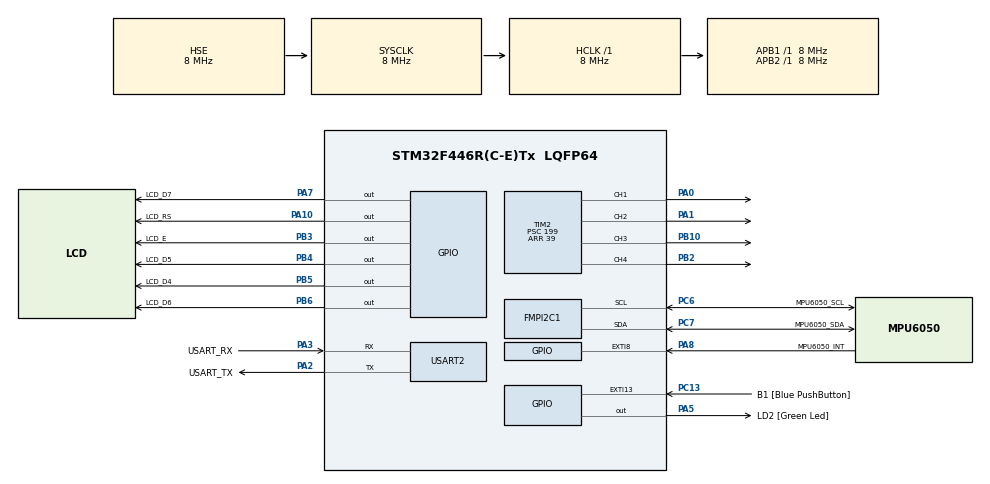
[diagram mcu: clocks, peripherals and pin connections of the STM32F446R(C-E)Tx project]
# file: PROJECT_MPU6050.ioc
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FMPI2C1.FMPI2C_Speed_Mode=FMPI2C_Fast
FMPI2C1.Timing=0x0000020B
FREERTOS.Tasks01=defaultTask,24,128,StartDefaultTask,Default,NULL,Dynamic,NULL,NULL;SensorReadTask,24,128,sensor_read_task,Default,NULL,Dynamic,NULL,NULL;PWMControlTask,40,128,pwm_control_task,Default,NULL,Dynamic,NULL,NULL;LCDControlTask,39,128,lcd_control_task,Default,NULL,Dynamic,NULL,NULL
FREERTOS.configUSE_NEWLIB_REENTRANT=1
Mcu.Family=STM32F4
Mcu.Name=STM32F446R(C-E)Tx
Mcu.Package=LQFP64
NVIC.EXTI15_10_IRQn=true\:5\:0\:false\:false\:true\:true\:true\:true\:true
NVIC.EXTI9_5_IRQn=true\:5\:0\:true\:false\:true\:false\:true\:true\:true
NVIC.PriorityGroup=NVIC_PRIORITYGROUP_4
NVIC.TIM2_IRQn=true\:5\:0\:false\:false\:true\:true\:true\:true\:true
NVIC.TIM6_DAC_IRQn=true\:15\:0\:false\:false\:true\:false\:false\:true\:true
NVIC.TimeBase=TIM6_DAC_IRQn
NVIC.TimeBaseIP=TIM6
PA0-WKUP.Signal=S_TIM2_CH1_ETR
PA1.Signal=S_TIM2_CH2
PA10.GPIO_Label=LCD_RS
PA10.Signal=GPIO_Output
PA13.GPIO_Label=TMS
PA13.Mode=Serial_Wire
PA13.Signal=SYS_JTMS-SWDIO
PA14.GPIO_Label=TCK
PA14.Mode=Serial_Wire
PA14.Signal=SYS_JTCK-SWCLK
PA2.GPIO_Label=USART_TX
PA2.Mode=Asynchronous
PA2.Signal=USART2_TX
PA3.GPIO_Label=USART_RX
PA3.Mode=Asynchronous
PA3.Signal=USART2_RX
PA5.GPIO_Label=LD2 [Green Led]
PA5.Signal=GPIO_Output
PA7.GPIO_Label=LCD_D7
PA7.Signal=GPIO_Output
PA8.GPIO_Label=MPU6050_INT
PA8.Signal=GPXTI8
PB10.Signal=S_TIM2_CH3
PB2.Signal=S_TIM2_CH4
PB3.GPIO_Label=LCD_E
PB3.Signal=GPIO_Output
PB4.GPIO_Label=LCD_D5
PB4.Signal=GPIO_Output
PB5.GPIO_Label=LCD_D4
PB5.Signal=GPIO_Output
PB6.GPIO_Label=LCD_D6
PB6.Signal=GPIO_Output
PC13.GPIO_Label=B1 [Blue PushButton]
PC13.GPIO_ModeDefaultEXTI=GPIO_MODE_IT_FALLING
PC13.Signal=GPXTI13
PC14-OSC32_IN.Mode=LSE-External-Oscillator
PC14-OSC32_IN.Signal=RCC_OSC32_IN
PC15-OSC32_OUT.Mode=LSE-External-Oscillator
PC15-OSC32_OUT.Signal=RCC_OSC32_OUT
PC6.GPIO_Label=MPU6050_SCL
PC6.GPIO_PuPdOD=GPIO_NOPULL
PC6.Mode=I2C
PC6.Signal=FMPI2C1_SCL
PC7.GPIO_Label=MPU6050_SDA
PC7.GPIO_PuPdOD=GPIO_NOPULL
PC7.Mode=I2C
PC7.Signal=FMPI2C1_SDA
PH0-OSC_IN.Mode=HSE-External-Oscillator
PH0-OSC_IN.Signal=RCC_OSC_IN
PH1-OSC_OUT.Mode=HSE-External-Oscillator
PH1-OSC_OUT.Signal=RCC_OSC_OUT
ProjectManager.HeapSize=0x200
ProjectManager.StackSize=0x400
ProjectManager.TargetToolchain=CMake
RCC.48MHZClocksFreq_Value=84000000
RCC.AHBFreq_Value=8000000
RCC.APB1Freq_Value=8000000
RCC.APB1TimFreq_Value=8000000
RCC.APB2Freq_Value=8000000
RCC.APB2TimFreq_Value=8000000
RCC.CortexFreq_Value=8000000
RCC.FLatency-AdvancedSettings=FLASH_LATENCY_0
RCC.HCLKFreq_Value=8000000
RCC.HSE_VALUE=8000000
RCC.HSI_VALUE=16000000
RCC.PLLN=336
RCC.PLLP=RCC_PLLP_DIV4
RCC.SYSCLKFreq_VALUE=8000000
RCC.SYSCLKSource=RCC_SYSCLKSOURCE_HSE
RCC.USBFreq_Value=168000000
RCC.VCOOutputFreq_Value=336000000
SH.S_TIM2_CH1_ETR.0=TIM2_CH1,PWM Generation1 CH1
SH.S_TIM2_CH2.0=TIM2_CH2,PWM Generation2 CH2
SH.S_TIM2_CH3.0=TIM2_CH3,PWM Generation3 CH3
SH.S_TIM2_CH4.0=TIM2_CH4,PWM Generation4 CH4
TIM2.Channel-PWM\ Generation1\ CH1=TIM_CHANNEL_1
TIM2.Channel-PWM\ Generation2\ CH2=TIM_CHANNEL_2
TIM2.Channel-PWM\ Generation3\ CH3=TIM_CHANNEL_3
TIM2.Channel-PWM\ Generation4\ CH4=TIM_CHANNEL_4
TIM2.Period=39
TIM2.Prescaler=199
TIM2.Pulse-PWM\ Generation1\ CH1=16
TIM2.Pulse-PWM\ Generation2\ CH2=8
TIM2.TIM_MasterOutputTrigger=TIM_TRGO_UPDATE
USART2.VirtualMode=VM_ASYNC
VP_FREERTOS_VS_CMSIS_V2.Mode=CMSIS_V2
VP_SYS_VS_tim6.Mode=TIM6
VP_TIM2_VS_ClockSourceINT.Mode=Internal
board=NUCLEO-F446RE

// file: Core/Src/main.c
/* USER CODE BEGIN Header */
/**
  ******************************************************************************
  * @file           : main.c
  * @brief          : Main program body
  ******************************************************************************
  * @attention
  *
  * Copyright (c) 2025 STMicroelectronics.
  * All rights reserved.
  *
  * This software is licensed under terms that can be found in the LICENSE file
  * in the root directory of this software component.
  * If no LICENSE file comes with this software, it is provided AS-IS.
  *
  ******************************************************************************
  */
/* USER CODE END Header */
#include "main.h"
#include "cmsis_os.h"

FMPI2C_HandleTypeDef hfmpi2c1;

TIM_HandleTypeDef htim2;

UART_HandleTypeDef huart2;

/* Definitions for defaultTask */
osThreadId_t defaultTaskHandle;
const osThreadAttr_t defaultTask_attributes = {
  .name = "defaultTask",
  .stack_size = 128 * 4,
  .priority = (osPriority_t) osPriorityNormal,
};
/* Definitions for SensorReadTask */
osThreadId_t SensorReadTaskHandle;
const osThreadAttr_t SensorReadTask_attributes = {
  .name = "SensorReadTask",
  .stack_size = 128 * 4,
  .priority = (osPriority_t) osPriorityNormal,
};
/* Definitions for PWMControlTask */
osThreadId_t PWMControlTaskHandle;
const osThreadAttr_t PWMControlTask_attributes = {
  .name = "PWMControlTask",
  .stack_size = 128 * 4,
  .priority = (osPriority_t) osPriorityHigh,
};
/* Definitions for LCDControlTask */
osThreadId_t LCDControlTaskHandle;
const osThreadAttr_t LCDControlTask_attributes = {
  .name = "LCDControlTask",
  .stack_size = 128 * 4,
  .priority = (osPriority_t) osPriorityAboveNormal7,
};

void SystemClock_Config(void);
static void MX_GPIO_Init(void);
static void MX_USART2_UART_Init(void);
static void MX_FMPI2C1_Init(void);
static void MX_TIM2_Init(void);
void StartDefaultTask(void *argument);
void sensor_read_task(void *argument);
void pwm_control_task(void *argument);
void lcd_control_task(void *argument);

/* USER CODE BEGIN 0 */

uint32_t g_counter = 0;
volatile uint32_t g_channel_1_state = 16;
volatile uint32_t g_channel_2_state = 8;

const mpu6050_accel_data_t error_offset = {
  .x = 490,
  .y = -40,
  .z = 16788 - 16384
};

#define PWM_PULSE_MIN 0
#define PWM_PULSE_MAX 40

#define ANGLE_POS_MIN 0
#define ANGLE_POS_MAX 90

#define GRID_SIZE 10
char grid[GRID_SIZE][GRID_SIZE];
char uart_buffer[128];

// Normalize accelerometer value to grid index
int map_to_grid_index(int16_t accel, int16_t min_val, int16_t max_val) {
    if (accel < min_val) accel = min_val;
    if (accel > max_val) accel = max_val;
    return ((accel - min_val) * (GRID_SIZE - 1)) / (max_val - min_val);
}

void draw_grid(int16_t x, int16_t y) {
    // Clear screen and move cursor to home
    HAL_UART_Transmit(&huart2, (uint8_t*)"\033[2J\033[H", strlen("\033[2J\033[H"), 100);

    // Clear grid
    for (int i = 0; i < GRID_SIZE; i++)
        for (int j = 0; j < GRID_SIZE; j++)
            grid[i][j] = '.';

    // Map to grid coordinates
    int gx = map_to_grid_index(x, -16000, 16000);
    int gy = map_to_grid_index(y, -16000, 16000);

    grid[gy][gx] = 'X';  // Place marker

    // Print grid to UART
    for (int i = 0; i < GRID_SIZE; i++) {
        int idx = 0;
        for (int j = 0; j < GRID_SIZE; j++)
            uart_buffer[idx++] = grid[i][j];
        uart_buffer[idx++] = '\r';
        uart_buffer[idx++] = '\n';
        HAL_UART_Transmit(&huart2, (uint8_t *)uart_buffer, idx, 100);
    }

    HAL_UART_Transmit(&huart2, (uint8_t *)"\r\n", 2, 100); // newline
}

//map function: re-maps a number from one range to another

long map(long x, long in_min, long in_max, long out_min, long out_max){
  // perform mapping

  long result = (x - in_min) * (out_max - out_min) / (in_max - in_min) + out_min;

  //clam the result to the output range

  if (result > out_max){
    result = out_max;
  }else if (result < out_min){
    result = out_min;
  }
  return result;
}

void change_pwm_duty_cycle(uint32_t pwm_pulse, uint8_t timer_channel){
  __HAL_TIM_SET_COMPARE(&htim2, timer_channel, pwm_pulse);
}

/* USER CODE END 0 */

int main(void)
{

  /* MCU Configuration--------------------------------------------------------*/

  /* Reset of all peripherals, Initializes the Flash interface and the Systick. */
  HAL_Init();

  /* Configure the system clock */
  SystemClock_Config();

  /* Initialize all configured peripherals */
  MX_GPIO_Init();
  MX_USART2_UART_Init();
  MX_FMPI2C1_Init();
  MX_TIM2_Init();
  /* USER CODE BEGIN 2 */

  if (mpu6050_init(&hfmpi2c1, MPU6050_I2C_ADDR) != MPU6050_OK){
    Error_Handler();
  }

  mpu6050_disable_interrupt(&hfmpi2c1, ALL_INT);
  mpu6050_interrupt_config(&hfmpi2c1, INT_LEVEL_ACTIVE_HIGH);
  mpu6050_enable_interrupt(&hfmpi2c1, RAW_RDY_INT);

#if 1
  if (mpu6050_configure_low_pass_filter(&hfmpi2c1, DLPF_CFG_21HZ) != MPU6050_OK){
    Error_Handler();
  }
#endif

  __HAL_TIM_ENABLE_IT(&htim2, TIM_IT_UPDATE);

  if (HAL_TIM_PWM_Start_IT(&htim2, TIM_CHANNEL_1) != HAL_OK){
    Error_Handler();
  }

  if (HAL_TIM_PWM_Start_IT(&htim2, TIM_CHANNEL_2) != HAL_OK){
    Error_Handler();
  }

  if (HAL_TIM_PWM_Start_IT(&htim2, TIM_CHANNEL_3) != HAL_OK){
    Error_Handler();
  }

  if (HAL_TIM_PWM_Start_IT(&htim2, TIM_CHANNEL_4) != HAL_OK){
    Error_Handler();
  }

  /* USER CODE END 2 */

  /* Init scheduler */
  osKernelInitialize();

  /* Create the thread(s) */
  /* creation of defaultTask */
  defaultTaskHandle = osThreadNew(StartDefaultTask, NULL, &defaultTask_attributes);

  /* creation of SensorReadTask */
  SensorReadTaskHandle = osThreadNew(sensor_read_task, NULL, &SensorReadTask_attributes);

  /* creation of PWMControlTask */
  PWMControlTaskHandle = osThreadNew(pwm_control_task, NULL, &PWMControlTask_attributes);

  /* creation of LCDControlTask */
  LCDControlTaskHandle = osThreadNew(lcd_control_task, NULL, &LCDControlTask_attributes);

  /* Start scheduler */
  osKernelStart();

  /* We should never get here as control is now taken by the scheduler */

  /* Infinite loop */
  while (1)
  {

    /* USER CODE BEGIN 3 */

#ifdef PWM_DEBUG
    g_counter = __HAL_TIM_GET_COUNTER(&htim2);
#endif

    //HAL_Delay(100);
  }
  /* USER CODE END 3 */
}

void SystemClock_Config(void)
{
  RCC_OscInitTypeDef RCC_OscInitStruct = {0};
  RCC_ClkInitTypeDef RCC_ClkInitStruct = {0};

  /** Configure the main internal regulator output voltage
  */
  __HAL_RCC_PWR_CLK_ENABLE();
  __HAL_PWR_VOLTAGESCALING_CONFIG(PWR_REGULATOR_VOLTAGE_SCALE3);

  /** Initializes the RCC Oscillators according to the specified parameters
  * in the RCC_OscInitTypeDef structure.
  */
  RCC_OscInitStruct.OscillatorType = RCC_OSCILLATORTYPE_HSE;
  RCC_OscInitStruct.HSEState = RCC_HSE_ON;
  RCC_OscInitStruct.PLL.PLLState = RCC_PLL_NONE;
  if (HAL_RCC_OscConfig(&RCC_OscInitStruct) != HAL_OK)
  {
    Error_Handler();
  }

  /** Initializes the CPU, AHB and APB buses clocks
  */
  RCC_ClkInitStruct.ClockType = RCC_CLOCKTYPE_HCLK|RCC_CLOCKTYPE_SYSCLK
                              |RCC_CLOCKTYPE_PCLK1|RCC_CLOCKTYPE_PCLK2;
  RCC_ClkInitStruct.SYSCLKSource = RCC_SYSCLKSOURCE_HSE;
  RCC_ClkInitStruct.AHBCLKDivider = RCC_SYSCLK_DIV1;
  RCC_ClkInitStruct.APB1CLKDivider = RCC_HCLK_DIV1;
  RCC_ClkInitStruct.APB2CLKDivider = RCC_HCLK_DIV1;

  if (HAL_RCC_ClockConfig(&RCC_ClkInitStruct, FLASH_LATENCY_0) != HAL_OK)
  {
    Error_Handler();
  }
}

static void MX_FMPI2C1_Init(void)
{

  hfmpi2c1.Instance = FMPI2C1;
  hfmpi2c1.Init.Timing = 0x0000020B;
  hfmpi2c1.Init.OwnAddress1 = 0;
  hfmpi2c1.Init.AddressingMode = FMPI2C_ADDRESSINGMODE_7BIT;
  hfmpi2c1.Init.DualAddressMode = FMPI2C_DUALADDRESS_DISABLE;
  hfmpi2c1.Init.OwnAddress2 = 0;
  hfmpi2c1.Init.OwnAddress2Masks = FMPI2C_OA2_NOMASK;
  hfmpi2c1.Init.GeneralCallMode = FMPI2C_GENERALCALL_DISABLE;
  hfmpi2c1.Init.NoStretchMode = FMPI2C_NOSTRETCH_DISABLE;
  if (HAL_FMPI2C_Init(&hfmpi2c1) != HAL_OK)
  {
    Error_Handler();
  }

  /** Configure Analogue filter
  */
  if (HAL_FMPI2CEx_ConfigAnalogFilter(&hfmpi2c1, FMPI2C_ANALOGFILTER_ENABLE) != HAL_OK)
  {
    Error_Handler();
  }

}

static void MX_TIM2_Init(void)
{

  TIM_ClockConfigTypeDef sClockSourceConfig = {0};
  TIM_MasterConfigTypeDef sMasterConfig = {0};
  TIM_OC_InitTypeDef sConfigOC = {0};

  htim2.Instance = TIM2;
  htim2.Init.Prescaler = 199;
  htim2.Init.CounterMode = TIM_COUNTERMODE_UP;
  htim2.Init.Period = 39;
  htim2.Init.ClockDivision = TIM_CLOCKDIVISION_DIV1;
  htim2.Init.AutoReloadPreload = TIM_AUTORELOAD_PRELOAD_DISABLE;
  if (HAL_TIM_Base_Init(&htim2) != HAL_OK)
  {
    Error_Handler();
  }
  sClockSourceConfig.ClockSource = TIM_CLOCKSOURCE_INTERNAL;
  if (HAL_TIM_ConfigClockSource(&htim2, &sClockSourceConfig) != HAL_OK)
  {
    Error_Handler();
  }
  if (HAL_TIM_PWM_Init(&htim2) != HAL_OK)
  {
    Error_Handler();
  }
  sMasterConfig.MasterOutputTrigger = TIM_TRGO_UPDATE;
  sMasterConfig.MasterSlaveMode = TIM_MASTERSLAVEMODE_DISABLE;
  if (HAL_TIMEx_MasterConfigSynchronization(&htim2, &sMasterConfig) != HAL_OK)
  {
    Error_Handler();
  }
  sConfigOC.OCMode = TIM_OCMODE_PWM1;
  sConfigOC.Pulse = 16;
  sConfigOC.OCPolarity = TIM_OCPOLARITY_HIGH;
  sConfigOC.OCFastMode = TIM_OCFAST_DISABLE;
  if (HAL_TIM_PWM_ConfigChannel(&htim2, &sConfigOC, TIM_CHANNEL_1) != HAL_OK)
  {
    Error_Handler();
  }
  sConfigOC.Pulse = 8;
  if (HAL_TIM_PWM_ConfigChannel(&htim2, &sConfigOC, TIM_CHANNEL_2) != HAL_OK)
  {
    Error_Handler();
  }
  sConfigOC.Pulse = 0;
  if (HAL_TIM_PWM_ConfigChannel(&htim2, &sConfigOC, TIM_CHANNEL_3) != HAL_OK)
  {
    Error_Handler();
  }
  if (HAL_TIM_PWM_ConfigChannel(&htim2, &sConfigOC, TIM_CHANNEL_4) != HAL_OK)
  {
    Error_Handler();
  }
  HAL_TIM_MspPostInit(&htim2);

}

static void MX_USART2_UART_Init(void)
{

  huart2.Instance = USART2;
  huart2.Init.BaudRate = 115200;
  huart2.Init.WordLength = UART_WORDLENGTH_8B;
  huart2.Init.StopBits = UART_STOPBITS_1;
  huart2.Init.Parity = UART_PARITY_NONE;
  huart2.Init.Mode = UART_MODE_TX_RX;
  huart2.Init.HwFlowCtl = UART_HWCONTROL_NONE;
  huart2.Init.OverSampling = UART_OVERSAMPLING_16;
  if (HAL_UART_Init(&huart2) != HAL_OK)
  {
    Error_Handler();
  }

}

static void MX_GPIO_Init(void)
{
  GPIO_InitTypeDef GPIO_InitStruct = {0};

  /* GPIO Ports Clock Enable */
  __HAL_RCC_GPIOC_CLK_ENABLE();
  __HAL_RCC_GPIOH_CLK_ENABLE();
  __HAL_RCC_GPIOA_CLK_ENABLE();
  __HAL_RCC_GPIOB_CLK_ENABLE();

  /*Configure GPIO pin Output Level */
  HAL_GPIO_WritePin(GPIOA, LD2_Pin|LCD_D7_Pin|LCD_RS_Pin, GPIO_PIN_RESET);

  /*Configure GPIO pin Output Level */
  HAL_GPIO_WritePin(GPIOB, LCD_E_Pin|LCD_D5_Pin|LCD_D4_Pin|LCD_D6_Pin, GPIO_PIN_RESET);

  /*Configure GPIO pin : B1_Pin */
  GPIO_InitStruct.Pin = B1_Pin;
  GPIO_InitStruct.Mode = GPIO_MODE_IT_FALLING;
  GPIO_InitStruct.Pull = GPIO_NOPULL;
  HAL_GPIO_Init(B1_GPIO_Port, &GPIO_InitStruct);

  /*Configure GPIO pins : LD2_Pin LCD_D7_Pin LCD_RS_Pin */
  GPIO_InitStruct.Pin = LD2_Pin|LCD_D7_Pin|LCD_RS_Pin;
  GPIO_InitStruct.Mode = GPIO_MODE_OUTPUT_PP;
  GPIO_InitStruct.Pull = GPIO_NOPULL;
  GPIO_InitStruct.Speed = GPIO_SPEED_FREQ_LOW;
  HAL_GPIO_Init(GPIOA, &GPIO_InitStruct);

  /*Configure GPIO pin : MPU6050_INT_Pin */
  GPIO_InitStruct.Pin = MPU6050_INT_Pin;
  GPIO_InitStruct.Mode = GPIO_MODE_IT_RISING;
  GPIO_InitStruct.Pull = GPIO_NOPULL;
  HAL_GPIO_Init(MPU6050_INT_GPIO_Port, &GPIO_InitStruct);

  /*Configure GPIO pins : LCD_E_Pin LCD_D5_Pin LCD_D4_Pin LCD_D6_Pin */
  GPIO_InitStruct.Pin = LCD_E_Pin|LCD_D5_Pin|LCD_D4_Pin|LCD_D6_Pin;
  GPIO_InitStruct.Mode = GPIO_MODE_OUTPUT_PP;
  GPIO_InitStruct.Pull = GPIO_NOPULL;
  GPIO_InitStruct.Speed = GPIO_SPEED_FREQ_LOW;
  HAL_GPIO_Init(GPIOB, &GPIO_InitStruct);

  /* EXTI interrupt init*/
  HAL_NVIC_SetPriority(EXTI9_5_IRQn, 5, 0);
  HAL_NVIC_EnableIRQ(EXTI9_5_IRQn);

  HAL_NVIC_SetPriority(EXTI15_10_IRQn, 5, 0);
  HAL_NVIC_EnableIRQ(EXTI15_10_IRQn);

}

void StartDefaultTask(void *argument)
{
  for(;;)
  {
    osDelay(1);
  }
}

void sensor_read_task(void *argument)
{
  /* USER CODE BEGIN sensor_read_task */

  mpu6050_accel_data_t g_accel_data;

  uint32_t previous_tick = osKernelGetTickCount();
  int16_t roll_angle;
  int16_t pitch_angle;
  int16_t roll_angle_filtered;
  int16_t pitch_angle_filtered;
  uint32_t roll_pitch_angles;

  float dt = 0;

  KalmanFilter kf_roll;
  kalman_filter_init(&kf_roll);

  KalmanFilter kf_pitch;
  kalman_filter_init(&kf_pitch);

  /* Infinite loop */
  for(;;)
  {
    //sensor read
    if (mpu6050_read_accelerometer_data(&hfmpi2c1, MPU6050_I2C_ADDR, &g_accel_data) != MPU6050_OK){
      Error_Handler();
    }

    g_accel_data = mpu6050_accelerometer_callibration(&error_offset, &g_accel_data);

    uint32_t current_tick = osKernelGetTickCount();
    dt = (current_tick - previous_tick) / 1000.0f;
    previous_tick = current_tick;

    roll_angle = atan2(g_accel_data.y, g_accel_data.z) * (180 / M_PI);
    pitch_angle = atan2((-g_accel_data.x), sqrt(g_accel_data.y * g_accel_data.y + g_accel_data.z *g_accel_data.z)) * (180 / M_PI);

    roll_angle_filtered = (int16_t)kalman_filter_get_angle(&kf_roll, roll_angle, dt);
    pitch_angle_filtered = (int16_t)kalman_filter_get_angle(&kf_pitch, pitch_angle, dt);

    roll_pitch_angles = roll_angle_filtered;
    roll_pitch_angles = (roll_angle_filtered << 16) | pitch_angle_filtered;
    //send notificiation to pwm control task
    xTaskNotify((TaskHandle_t)PWMControlTaskHandle, roll_pitch_angles, eSetValueWithOverwrite);
    xTaskNotify((TaskHandle_t)LCDControlTaskHandle, roll_pitch_angles, eSetValueWithOverwrite);
    //enter blocked state
    xTaskNotifyWait(0, 0, NULL, portMAX_DELAY);
  }
  /* USER CODE END sensor_read_task */
}

void pwm_control_task(void *argument)
{
  /* USER CODE BEGIN pwm_control_task */

  int16_t roll_angle_filtered;
  int16_t pitch_angle_filtered;
  int16_t abs_roll_angle_filtered;
  int16_t abs_pitch_angle_filtered;

  uint32_t roll_pitch_angles;

  /* Infinite loop */
  for(;;)
  {
    // wakes up on notification
    xTaskNotifyWait(0, ULONG_MAX, &roll_pitch_angles, portMAX_DELAY);

    pitch_angle_filtered = (int16_t) roll_pitch_angles & 0xFFFF;
    roll_angle_filtered = (int16_t) ((roll_pitch_angles >> 16)  & 0xFFFF);

    uint8_t raw_channel = (roll_angle_filtered < 0) ? TIM_CHANNEL_1 : TIM_CHANNEL_2;
    uint8_t pitch_channel = (pitch_angle_filtered < 0) ? TIM_CHANNEL_3 : TIM_CHANNEL_4;

    abs_roll_angle_filtered = (roll_angle_filtered < 0 ) ? -roll_angle_filtered : roll_angle_filtered;
    abs_pitch_angle_filtered = (pitch_angle_filtered < 0 ) ? -pitch_angle_filtered : pitch_angle_filtered;

    uint32_t raw_pwm_pulse = map(abs_roll_angle_filtered, ANGLE_POS_MIN, ANGLE_POS_MAX, PWM_PULSE_MIN, PWM_PULSE_MAX);
    uint32_t pitch_pwm_pulse = map(abs_pitch_angle_filtered, ANGLE_POS_MIN, ANGLE_POS_MAX, PWM_PULSE_MIN, PWM_PULSE_MAX);

    change_pwm_duty_cycle(raw_pwm_pulse, raw_channel);
    change_pwm_duty_cycle(pitch_pwm_pulse, pitch_channel);
  }
  /* USER CODE END pwm_control_task */
}

void lcd_control_task(void *argument)
{
  /* USER CODE BEGIN lcd_control_task */
  Lcd_PortType ports[] = { LCD_D4_GPIO_Port, LCD_D5_GPIO_Port, LCD_D6_GPIO_Port, LCD_D7_GPIO_Port };
  Lcd_PinType pins[] = {LCD_D4_Pin, LCD_D5_Pin, LCD_D6_Pin, LCD_D7_Pin};
  Lcd_HandleTypeDef lcd;
  lcd = Lcd_create(ports, pins, LCD_RS_GPIO_Port, LCD_RS_Pin, LCD_E_GPIO_Port, LCD_E_Pin, LCD_4_BIT_MODE);

  int16_t roll_angle_filtered;
  int16_t pitch_angle_filtered;

  uint32_t roll_pitch_angles;

  /* Infinite loop */
  for(;;)
  {
    // wakes up on notification
    xTaskNotifyWait(0, ULONG_MAX, &roll_pitch_angles, portMAX_DELAY);

    pitch_angle_filtered = (int16_t) roll_pitch_angles & 0xFFFF;
    roll_angle_filtered = (int16_t) ((roll_pitch_angles >> 16)  & 0xFFFF);

    // Format buffer with roll and pitch
    char lcd_line1[17];
    char lcd_line2[17];

    snprintf(lcd_line1, sizeof(lcd_line1), "Roll: %+3d deg", roll_angle_filtered);
    snprintf(lcd_line2, sizeof(lcd_line2), "Pitch: %+3d deg", pitch_angle_filtered);

    // Clear screen and update LCD
    Lcd_clear(&lcd);
    Lcd_cursor(&lcd, 0, 0);
    Lcd_string(&lcd, lcd_line1);
    Lcd_cursor(&lcd, 1, 0);
    Lcd_string(&lcd, lcd_line2);
  }
  /* USER CODE END lcd_control_task */
}

void HAL_TIM_PeriodElapsedCallback(TIM_HandleTypeDef *htim)
{
  if (htim->Instance == TIM6)
  {
    HAL_IncTick();
  }
  /* USER CODE BEGIN Callback 1 */
  g_counter = 0;
  g_channel_1_state = 16;
  g_channel_2_state = 8;

  /* USER CODE END Callback 1 */
}

void Error_Handler(void)
{
  __disable_irq();
  while (1)
  {
  }
}
